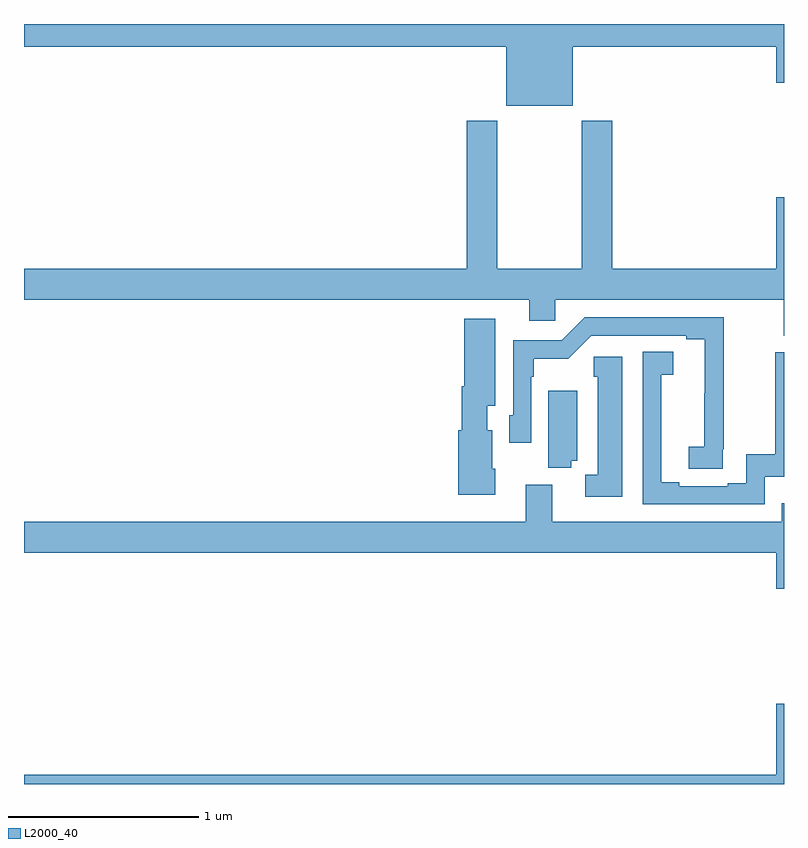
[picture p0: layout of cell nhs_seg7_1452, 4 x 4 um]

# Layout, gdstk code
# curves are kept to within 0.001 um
import gdstk
lib = gdstk.Library(unit=1e-6, precision=1e-09)
def P(c, l, *ps):  # polygons
    for p in ps: c.add(gdstk.Polygon(p, *l))
L2000_40 = (2000, 40)

nhs_seg7_1452 = lib.new_cell('nhs_seg7_1452')
P(nhs_seg7_1452, L2000_40, [(211.888,1069.88),(212.96,1069.88),(212.96,1069.692),(213,1069.692),(213,1070),(209,1070),(209,1069.88),(211.538,1069.88),(211.538,1069.571),(211.888,1069.571)],
  [(213,1069.087),(212.96,1069.087),(212.96,1068.712),(212.096,1068.712),(212.096,1069.492),(211.936,1069.492),(211.936,1068.712),(211.491,1068.712),(211.491,1069.492),(211.331,1069.492),(211.331,1068.712),(209,1068.712),(209,1068.548),(211.658,1068.548),(211.658,1068.438),(211.797,1068.438),(211.797,1068.548),(212.998,1068.548),(212.998,1068.358),(213,1068.358)],
  [(212.678,1067.761),(212.684,1067.761),(212.684,1068.456),(211.95,1068.456),(211.83,1068.336),(211.575,1068.336),(211.575,1067.94),(211.554,1067.94),(211.554,1067.796),(211.671,1067.796),(211.671,1068.143),(211.684,1068.143),(211.684,1068.239),(211.865,1068.239),(211.986,1068.36),(212.486,1068.36),(212.486,1068.34),(212.582,1068.34),(212.581,1067.774),(212.499,1067.774),(212.499,1067.659),(212.678,1067.659)],
  [(211.48,1067.658),(211.464,1067.658),(211.464,1067.862),(211.438,1067.862),(211.438,1067.99),(211.48,1067.99),(211.48,1068.448),(211.316,1068.448),(211.316,1068.094),(211.304,1068.094),(211.304,1067.862),(211.286,1067.862),(211.286,1067.522),(211.48,1067.522)],
  [(212.898,1067.618),(213,1067.618),(213,1068.273),(212.953,1068.273),(212.953,1067.735),(212.802,1067.735),(212.802,1067.582),(212.705,1067.582),(212.705,1067.568),(212.449,1067.568),(212.449,1067.588),(212.353,1067.588),(212.353,1067.851),(212.355,1067.851),(212.355,1068.155),(212.416,1068.155),(212.416,1068.275),(212.256,1068.275),(212.256,1067.472),(212.898,1067.472)],
  [(212.149,1068.25),(211.999,1068.25),(211.999,1068.144),(212.021,1068.144),(212.021,1067.628),(211.953,1067.628),(211.953,1067.513),(212.149,1067.513)],
  [(211.88,1067.702),(211.912,1067.702),(211.912,1068.07),(211.76,1068.07),(211.76,1067.665),(211.88,1067.665)],
  [(213,1067.478),(212.987,1067.478),(212.987,1067.38),(211.78,1067.38),(211.78,1067.575),(211.64,1067.575),(211.64,1067.38),(209,1067.38),(209,1067.216),(212.96,1067.216),(212.96,1067.028),(213,1067.028)],
  [(213,1066.423),(212.96,1066.423),(212.96,1066.048),(209,1066.048),(209,1066),(213,1066)])

lib.write_gds('nhs_seg7_1452.gds')
